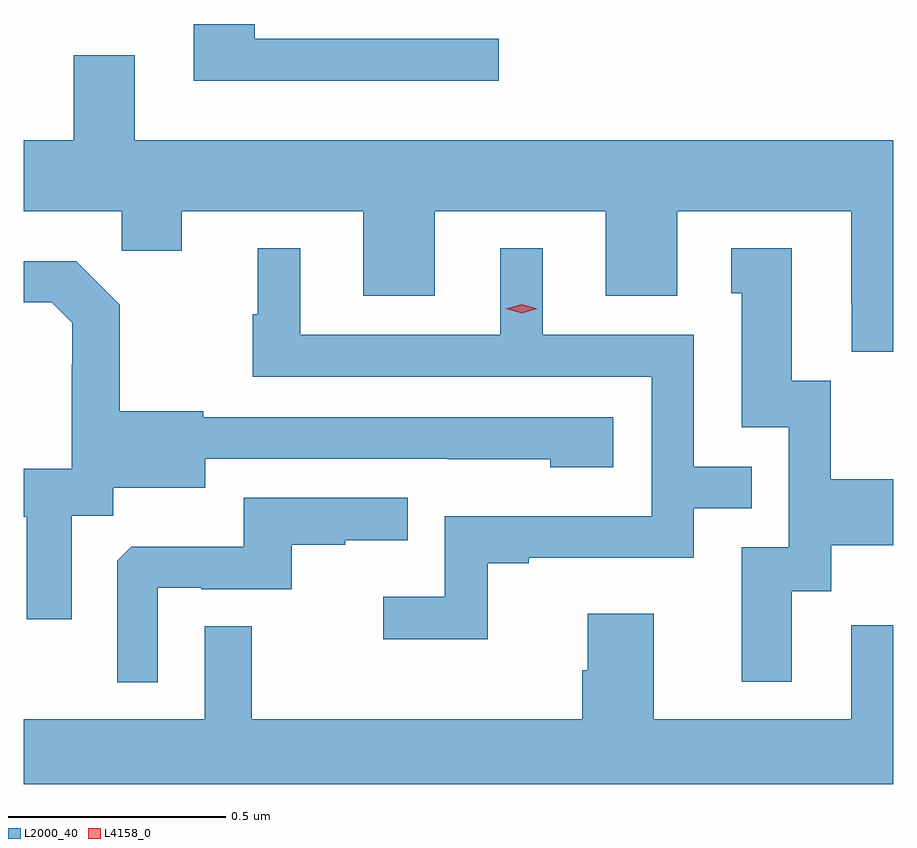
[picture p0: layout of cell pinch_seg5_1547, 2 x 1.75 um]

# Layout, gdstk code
import gdstk
lib = gdstk.Library(unit=1e-6, precision=1e-09)
def P(c, l, *ps):  # polygons
    for p in ps: c.add(gdstk.Polygon(p, *l))
L2000_40 = (2000, 40)
L4158_0 = (4158, 0)

pinch_seg5_1547 = lib.new_cell('pinch_seg5_1547')
P(pinch_seg5_1547, L2000_40, [(191.05,834.513),(190.489,834.513),(190.489,834.547),(190.349,834.547),(190.349,834.416),(191.05,834.416)],
  [(191.958,834.28),(190.213,834.28),(190.213,834.475),(190.073,834.475),(190.073,834.28),(189.958,834.28),(189.958,834.116),(190.183,834.116),(190.183,834.026),(190.321,834.026),(190.321,834.116),(190.739,834.116),(190.739,833.922),(190.903,833.922),(190.903,834.116),(191.297,834.116),(191.297,833.922),(191.461,833.922),(191.461,834.116),(191.861,834.116),(191.861,833.905),(191.862,833.905),(191.862,833.793),(191.958,833.793)],
  [(191.725,833.242),(191.815,833.242),(191.815,833.348),(191.958,833.348),(191.958,833.5),(191.814,833.5),(191.814,833.727),(191.725,833.727),(191.725,834.031),(191.585,834.031),(191.585,833.928),(191.609,833.928),(191.609,833.619),(191.718,833.619),(191.718,833.343),(191.609,833.343),(191.609,833.034),(191.725,833.034)],
  [(191.025,833.307),(191.119,833.307),(191.119,833.319),(191.499,833.319),(191.499,833.433),(191.633,833.433),(191.633,833.529),(191.499,833.529),(191.499,833.832),(191.152,833.832),(191.152,834.031),(191.054,834.031),(191.054,833.832),(190.594,833.832),(190.594,834.031),(190.496,834.031),(190.496,833.88),(190.485,833.88),(190.485,833.736),(191.403,833.736),(191.403,833.415),(190.926,833.415),(190.926,833.23),(190.785,833.23),(190.785,833.132),(191.025,833.132)],
  [(190.069,833.416),(190.164,833.416),(190.164,833.48),(190.375,833.48),(190.375,833.547),(190.933,833.547),(190.933,833.546),(191.169,833.546),(191.169,833.528),(191.314,833.528),(191.314,833.643),(190.371,833.643),(190.371,833.656),(190.179,833.656),(190.179,833.901),(190.079,834.001),(189.958,834.001),(189.958,833.907),(190.023,833.907),(190.07,833.86),(190.07,833.765),(190.068,833.765),(190.068,833.524),(189.958,833.524),(189.958,833.414),(189.965,833.414),(189.965,833.178),(190.069,833.178)],
  [(190.266,833.25),(190.366,833.25),(190.366,833.247),(190.574,833.247),(190.574,833.349),(190.697,833.349),(190.697,833.36),(190.841,833.36),(190.841,833.457),(190.464,833.457),(190.464,833.345),(190.205,833.345),(190.173,833.313),(190.173,833.033),(190.266,833.033)],
  [(191.958,833.164),(191.861,833.164),(191.861,832.948),(191.407,832.948),(191.407,833.191),(191.255,833.191),(191.255,833.061),(191.243,833.061),(191.243,832.948),(190.483,832.948),(190.483,833.162),(190.374,833.162),(190.374,832.948),(189.958,832.948),(189.958,832.799),(191.958,832.799)])
P(pinch_seg5_1547, L4158_0, [(191.103,833.882),(191.067,833.892),(191.067,833.892),(191.067,833.892),(191.103,833.902),(191.139,833.892),(191.139,833.892),(191.139,833.892)])

lib.write_gds('pinch_seg5_1547.gds')
